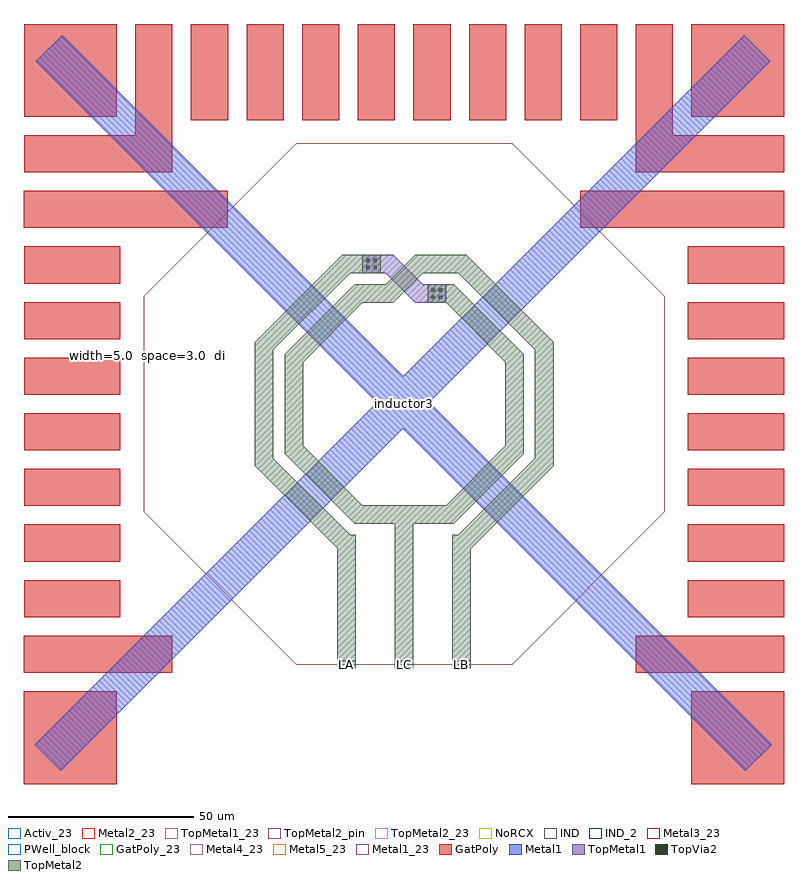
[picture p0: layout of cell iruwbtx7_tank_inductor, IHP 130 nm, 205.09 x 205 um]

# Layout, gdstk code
import gdstk
lib = gdstk.Library(unit=1e-6, precision=1e-09)
def R(c, l, rs):  # rectangles x0, y0, x1, y1
    for r in rs: c.add(gdstk.rectangle(r[:2], r[2:], *l))
def A(c, l, x, y, w, h, nx, ny, dx, dy):  # array of equal rectangles
    R(c, l, [(x+i*dx, y+j*dy, x+i*dx+w, y+j*dy+h) for i in range(nx) for j in range(ny)])
def P(c, l, *ps):  # polygons
    for p in ps: c.add(gdstk.Polygon(p, *l))
Activ_23 = (1, 23)
GatPoly = (5, 0)
GatPoly_23 = (5, 23)
Metal1 = (8, 0)
Metal1_23 = (8, 23)
Metal2_23 = (10, 23)
IND = (27, 0)
IND_2 = (27, 2)
Metal3_23 = (30, 23)
PWell_block = (46, 21)
Metal4_23 = (50, 23)
Metal5_23 = (67, 23)
TopMetal1 = (126, 0)
TopMetal1_23 = (126, 23)
TopVia2 = (133, 0)
TopMetal2 = (134, 0)
TopMetal2_pin = (134, 2)
TopMetal2_23 = (134, 23)
NoRCX = (148, 0)

iruwbtx7_tank_inductor = lib.new_cell('iruwbtx7_tank_inductor')
P(iruwbtx7_tank_inductor, Activ_23, [(70.887,29.71),(29.71,70.887),(29.71,129.118),(70.887,170.295),(129.117,170.295),(170.294,129.118),(170.294,70.887),(129.117,29.71)])
A(iruwbtx7_tank_inductor, GatPoly, -2.5, 42.5, 25.94, 10, 1, 7, 0, 15)
A(iruwbtx7_tank_inductor, GatPoly, 176.56, 42.5, 25.94, 10, 1, 7, 0, 15)
A(iruwbtx7_tank_inductor, GatPoly, 42.5, 176.56, 10, 25.94, 8, 1, 15, 0)
R(iruwbtx7_tank_inductor, GatPoly, [(-2.59,-2.5,22.41,22.5), (177.5,-2.5,202.5,22.5), (-2.59,27.5,37.41,37.5), (162.5,27.5,202.5,37.5), (-2.59,147.5,52.41,157.5), (147.5,147.5,202.5,157.5), (-2.5,162.5,37.5,172.5), (27.5,162.5,37.5,202.5), (162.5,162.5,172.5,202.5), (162.5,162.5,202.5,172.5), (-2.5,177.5,22.5,202.5), (177.5,177.5,202.5,202.5)])
P(iruwbtx7_tank_inductor, GatPoly_23, [(70.887,29.71),(29.71,70.887),(29.71,129.118),(70.887,170.295),(129.117,170.295),(170.294,129.118),(170.294,70.887),(129.117,29.71)])
P(iruwbtx7_tank_inductor, Metal1_23, [(70.887,29.71),(29.71,70.887),(29.71,129.118),(70.887,170.295),(129.117,170.295),(170.294,129.118),(170.294,70.887),(129.117,29.71)])
P(iruwbtx7_tank_inductor, Metal2_23, [(70.887,29.71),(29.71,70.887),(29.71,129.118),(70.887,170.295),(129.117,170.295),(170.294,129.118),(170.294,70.887),(129.117,29.71)])
P(iruwbtx7_tank_inductor, IND, [(70.887,29.71),(29.71,70.887),(29.71,129.118),(70.887,170.295),(129.117,170.295),(170.294,129.118),(170.294,70.887),(129.117,29.71)])
A(iruwbtx7_tank_inductor, IND_2, 82.002, 28.71, 5, 2, 3, 1, 15.5, 0)
P(iruwbtx7_tank_inductor, Metal3_23, [(70.887,29.71),(29.71,70.887),(29.71,129.118),(70.887,170.295),(129.117,170.295),(170.294,129.118),(170.294,70.887),(129.117,29.71)])
P(iruwbtx7_tank_inductor, PWell_block, [(70.887,29.71),(29.71,70.887),(29.71,129.118),(70.887,170.295),(129.117,170.295),(170.294,129.118),(170.294,70.887),(129.117,29.71)])
P(iruwbtx7_tank_inductor, Metal4_23, [(70.887,29.71),(29.71,70.887),(29.71,129.118),(70.887,170.295),(129.117,170.295),(170.294,129.118),(170.294,70.887),(129.117,29.71)])
P(iruwbtx7_tank_inductor, Metal5_23, [(70.887,29.71),(29.71,70.887),(29.71,129.118),(70.887,170.295),(129.117,170.295),(170.294,129.118),(170.294,70.887),(129.117,29.71)])
P(iruwbtx7_tank_inductor, TopMetal1, [(102.987,127.255),(94.967,135.275),(88.707,135.275),(88.707,140.275),(97.017,140.275),(105.037,132.255),(111.297,132.255),(111.297,127.255)])
P(iruwbtx7_tank_inductor, TopMetal1_23, [(70.887,29.71),(29.71,70.887),(29.71,129.118),(70.887,170.295),(129.117,170.295),(170.294,129.118),(170.294,70.887),(129.117,29.71)])
R(iruwbtx7_tank_inductor, TopVia2, [(107.367,128.325,108.267,129.225), (109.327,128.325,110.227,129.225), (107.367,130.285,108.267,131.185), (109.327,130.285,110.227,131.185), (89.777,136.325,90.677,137.225), (91.737,136.325,92.637,137.225), (89.777,138.285,90.677,139.185), (91.737,138.285,92.637,139.185)])
R(iruwbtx7_tank_inductor, TopMetal2, [(82.002,28.71,87.002,64.71), (113.002,28.71,118.002,64.71), (93.707,67.71,106.297,72.71)])
P(iruwbtx7_tank_inductor, TopMetal2, [(114.602,59.71),(114.602,64.71),(114.612,64.71),(135.285,85.383),(135.285,114.603),(114.612,135.275),(106.297,135.275),(106.297,140.275),(116.692,140.275),(140.285,116.683),(140.285,83.303),(116.692,59.71)],
  [(83.312,59.71),(59.719,83.303),(59.719,116.683),(83.312,140.275),(93.707,140.275),(93.707,135.275),(85.392,135.275),(64.719,114.603),(64.719,85.383),(85.392,64.71),(85.422,64.71),(85.422,59.71)],
  [(105.502,67.71),(105.502,72.71),(111.297,72.71),(127.275,88.688),(127.275,111.278),(111.297,127.255),(106.297,127.255),(106.297,132.255),(113.377,132.255),(132.275,113.358),(132.275,86.608),(113.377,67.71)],
  [(86.627,67.71),(67.729,86.608),(67.729,113.358),(86.627,132.255),(93.707,132.255),(93.707,127.255),(88.707,127.255),(72.729,111.278),(72.729,88.688),(88.707,72.71),(94.502,72.71),(94.502,67.71)],
  [(93.707,127.255),(93.707,132.255),(94.967,132.255),(102.987,140.275),(106.297,140.275),(106.297,135.275),(105.067,135.275),(97.047,127.255)])
A(iruwbtx7_tank_inductor, TopMetal2_pin, 82.002, 28.71, 5, 2, 3, 1, 15.5, 0)
P(iruwbtx7_tank_inductor, TopMetal2_23, [(70.887,29.71),(29.71,70.887),(29.71,129.118),(70.887,170.295),(129.117,170.295),(170.294,129.118),(170.294,70.887),(129.117,29.71)])
P(iruwbtx7_tank_inductor, NoRCX, [(70.887,29.71),(29.71,70.887),(29.71,129.118),(70.887,170.295),(129.117,170.295),(170.294,129.118),(170.294,70.887),(129.117,29.71)])
iruwbtx7_tank_inductor.add(gdstk.FlexPath([(100.002,28.71),(100.002,67.71)], 5, ends="flush", simple_path=True, layer=134, datatype=0))  # TopMetal2
iruwbtx7_tank_inductor.add(gdstk.FlexPath([(4.216,195.986),(195.586,4.616)], 10, ends="flush", simple_path=True, layer=8, datatype=0))  # Metal1
iruwbtx7_tank_inductor.add(gdstk.FlexPath([(3.876,4.616),(195.246,195.986)], 10, ends="flush", simple_path=True, layer=8, datatype=0))  # Metal1
iruwbtx7_tank_inductor.add(gdstk.Label('LC', (100.002,29.71), layer=27, texttype=25))
iruwbtx7_tank_inductor.add(gdstk.Label('LB', (115.502,29.71), layer=27, texttype=25))
iruwbtx7_tank_inductor.add(gdstk.Label('LA', (84.502,29.71), layer=27, texttype=25))
iruwbtx7_tank_inductor.add(gdstk.Label('inductor3', (100.002,100.251), layer=63, texttype=0))
iruwbtx7_tank_inductor.add(gdstk.Label('  width=5.0\n  space=3.0\n  diameter=54.54\n  turns=2', (29.71,113.018), layer=63, texttype=0))

lib.write_gds('iruwbtx7_tank_inductor.gds')
